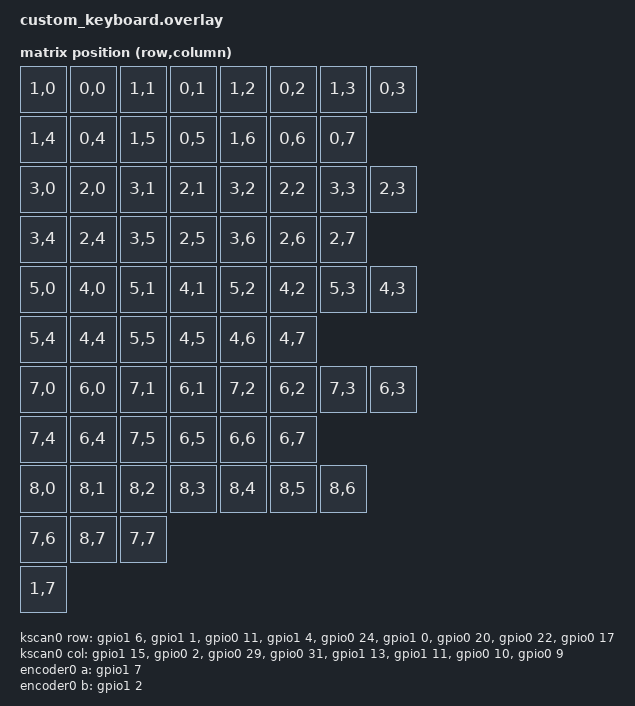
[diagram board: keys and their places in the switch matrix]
#include "custom_keyboard-layouts.dtsi"
#include <dt-bindings/zmk/matrix_transform.h>

/ {
    chosen {
        zmk,physical-layout = &default_layout;
    };

    kscan0: kscan {
        compatible = "zmk,kscan-gpio-matrix";
        diode-direction = "col2row";
        wakeup-source;

        row-gpios
            = <&gpio1 6  (GPIO_ACTIVE_HIGH | GPIO_PULL_DOWN)>
            , <&gpio1 1  (GPIO_ACTIVE_HIGH | GPIO_PULL_DOWN)>
            , <&gpio0 11 (GPIO_ACTIVE_HIGH | GPIO_PULL_DOWN)>
            , <&gpio1 4  (GPIO_ACTIVE_HIGH | GPIO_PULL_DOWN)>
            , <&gpio0 24 (GPIO_ACTIVE_HIGH | GPIO_PULL_DOWN)>
            , <&gpio1 0  (GPIO_ACTIVE_HIGH | GPIO_PULL_DOWN)>
            , <&gpio0 20 (GPIO_ACTIVE_HIGH | GPIO_PULL_DOWN)>
            , <&gpio0 22 (GPIO_ACTIVE_HIGH | GPIO_PULL_DOWN)>
            , <&gpio0 17 (GPIO_ACTIVE_HIGH | GPIO_PULL_DOWN)>
            ;

        col-gpios
            = <&gpio1 15 GPIO_ACTIVE_HIGH>
            , <&gpio0 2  GPIO_ACTIVE_HIGH>
            , <&gpio0 29 GPIO_ACTIVE_HIGH>
            , <&gpio0 31 GPIO_ACTIVE_HIGH>
            , <&gpio1 13 GPIO_ACTIVE_HIGH>
            , <&gpio1 11 GPIO_ACTIVE_HIGH>
            , <&gpio0 10 GPIO_ACTIVE_HIGH>
            , <&gpio0 9  GPIO_ACTIVE_HIGH>
            ;
    };

    default_transform: keymap_transform {
        compatible = "zmk,matrix-transform";
        rows = <9>;
        columns = <8>;

        map = <
        // Esc       1         2         3         4         5         6         7
           RC(1,0)   RC(0,0)   RC(1,1)   RC(0,1)   RC(1,2)   RC(0,2)   RC(1,3)   RC(0,3)
        // 8         9         0         -         =         Backspace Delete
           RC(1,4)   RC(0,4)   RC(1,5)   RC(0,5)   RC(1,6)   RC(0,6)   RC(0,7)

        // Tab       Q         W         E         R         T         Y         U
           RC(3,0)   RC(2,0)   RC(3,1)   RC(2,1)   RC(3,2)   RC(2,2)   RC(3,3)   RC(2,3)
        // I         O         P         [         ]         \         PrintScreen
           RC(3,4)   RC(2,4)   RC(3,5)   RC(2,5)   RC(3,6)   RC(2,6)   RC(2,7)

        // Caps      A         S         D         F         G         H         J
           RC(5,0)   RC(4,0)   RC(5,1)   RC(4,1)   RC(5,2)   RC(4,2)   RC(5,3)   RC(4,3)
        // K         L         ;         '         Enter     PageUp
           RC(5,4)   RC(4,4)   RC(5,5)   RC(4,5)   RC(4,6)   RC(4,7)

        // LShift    Z         X         C         V         B         N         M
           RC(7,0)   RC(6,0)   RC(7,1)   RC(6,1)   RC(7,2)   RC(6,2)   RC(7,3)   RC(6,3)
        // ,         .         /         RShift    Up        PageDown
           RC(7,4)   RC(6,4)   RC(7,5)   RC(6,5)   RC(6,6)   RC(6,7)

        // LCtrl     Win       LAlt      Space     RAlt      Fn        RCtrl
           RC(8,0)   RC(8,1)   RC(8,2)   RC(8,3)   RC(8,4)   RC(8,5)   RC(8,6)
        // Left      Down      Right
           RC(7,6)   RC(8,7)   RC(7,7)

        // Encoder push button
           RC(1,7)
        >;
    };

    encoder0: encoder {
        compatible = "alps,ec11";
        a-gpios = <&gpio1 7 (GPIO_ACTIVE_HIGH | GPIO_PULL_UP)>;
        b-gpios = <&gpio1 2 (GPIO_ACTIVE_HIGH | GPIO_PULL_UP)>;
        steps = <80>;
        status = "okay";
    };

    sensors: sensors {
        compatible = "zmk,keymap-sensors";
        sensors = <&encoder0>;
        triggers-per-rotation = <20>;
    };
};

&default_layout {
    kscan = <&kscan0>;
    transform = <&default_transform>;
};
